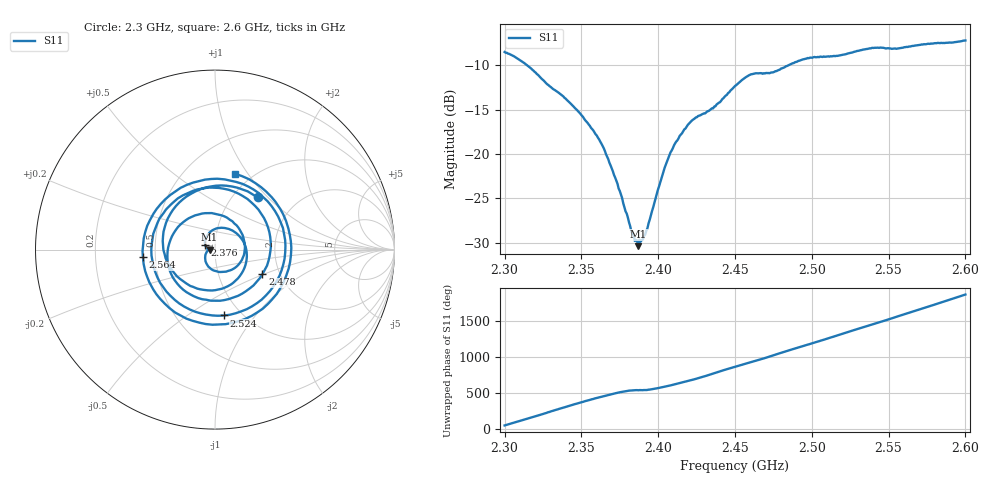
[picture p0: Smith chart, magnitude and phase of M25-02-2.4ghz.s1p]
! NanoVNA-App
! Date: 2026-05-25 01:50:05
! Start: 2.3GHz Stop: 2.6GHz Points: 401
! S-Parameter data: F S11
# Hz S RI R 50
!  Frequency  S11_Real  S11_Imag
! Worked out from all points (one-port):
!   401 points, 2.3 GHz to 2.6 GHz, reference 50 ohm
!   lowest |S11| = -30.4 dB at 2.387 GHz (marker M1), VSWR 1.06, Z = 47.1 - j0.0483 ohm
!   |S11| at or under -10 dB: 2.315 GHz to 2.485 GHz (169.9 MHz wide, 7.08 % of centre)
!   S11 on the Smith chart (normalised r, x): 2.3 GHz: 1.29, +0.88; 2.376 GHz: 0.90, +0.04; 2.478 GHz: 1.63, -0.49; 2.524 GHz: 0.83, -0.71; 2.564 GHz: 0.43, -0.04; 2.6 GHz: 0.84, +0.87
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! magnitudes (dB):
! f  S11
! 2.3 GHz  -8.5
! 2.313 GHz  -9.8
! 2.337 GHz  -13.4
! 2.349 GHz  -15.5
! 2.361 GHz  -18.4
! 2.366 GHz  -20.0
! 2.375 GHz  -24.2
! 2.376 GHz  -24.6
! 2.383 GHz  -29.0
! 2.385 GHz  -29.7
! 2.387 GHz  -30.4
! 2.389 GHz  -29.9
! 2.392 GHz  -29.1
! 2.405 GHz  -21.2
! 2.413 GHz  -18.5
! 2.421 GHz  -16.3
! 2.436 GHz  -14.9
! 2.45 GHz  -12.3
! 2.461 GHz  -11.0
! 2.478 GHz  -10.5
! 2.487 GHz  -9.8
! 2.498 GHz  -9.2
! 2.524 GHz  -8.6
! 2.525 GHz  -8.6
! 2.539 GHz  -8.0
! 2.562 GHz  -7.9
! 2.564 GHz  -7.9
! 2.6 GHz  -7.2
